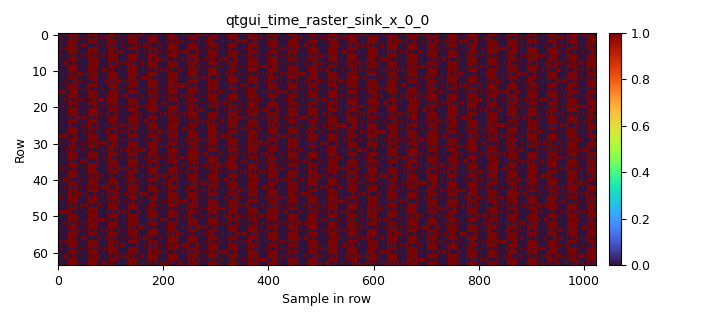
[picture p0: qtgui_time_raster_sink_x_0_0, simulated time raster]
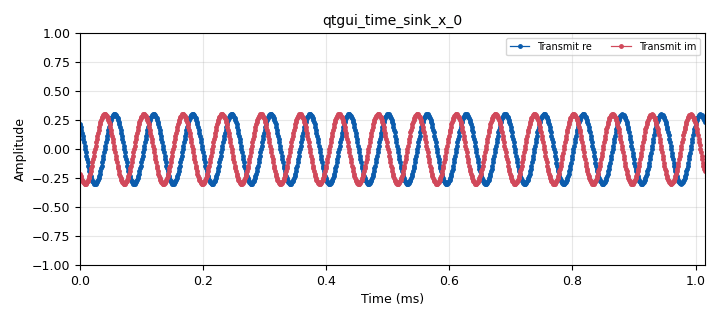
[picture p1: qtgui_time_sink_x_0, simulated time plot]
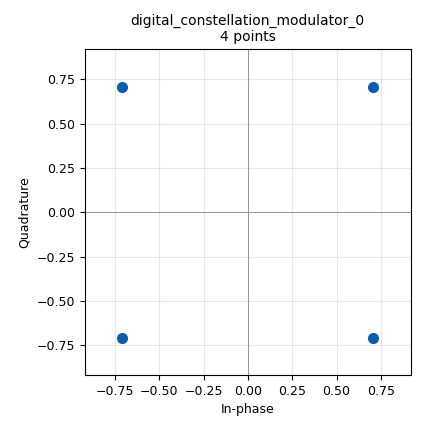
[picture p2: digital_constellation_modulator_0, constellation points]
options:
  parameters:
    generate_options: qt_gui
    id: qpsk_tx_console
    output_language: python
    title: qpsk_tx_console
  states: {}

blocks:
- name: alpha
  id: variable
  parameters:
    comment: |-
      Can't change alpha in real time
      for Consteallation Modulator
    value: '0.50'
  states: {}
- name: center_freq
  id: variable
  parameters:
    value: 915e6
  states: {}
- name: constellation
  id: variable_constellation
  parameters:
    const_points: '[-1-1j, -1+1j, 1+1j, 1-1j]'
    dims: '1'
    normalization: digital.constellation.AMPLITUDE_NORMALIZATION
    precision: '8'
    rot_sym: '4'
    sym_map: '[0, 1, 2, 3]'
    type: calcdist
  states: {}
- name: samp_rate
  id: variable
  parameters:
    value: '1008000'
  states: {}
- name: sps
  id: variable
  parameters:
    value: '16'
  states: {}
- name: tx_attenuation
  id: variable_qtgui_range
  parameters:
    label: ip:192.168.2.1
    start: '0'
    step: '1'
    stop: '89'
    value: '0'
  states: {}
- name: blocks_message_strobe_0_0
  id: blocks_message_strobe
  parameters:
    msg: pmt.cons(pmt.PMT_NIL,pmt.init_u8vector(9,(71,78,85,32,82,97,100,105,111)))
    period: '1'
  states: {}
- name: blocks_multiply_const_vxx_0
  id: blocks_multiply_const_vxx
  parameters:
    const: '0.3'
    type: complex
  states: {}
- name: blocks_packed_to_unpacked_xx_0
  id: blocks_packed_to_unpacked_xx
  parameters:
    bits_per_chunk: '1'
    endianness: gr.GR_MSB_FIRST
    type: byte
  states: {}
- name: digital_constellation_modulator_0
  id: digital_constellation_modulator
  parameters:
    constellation: constellation
    differential: 'True'
    excess_bw: alpha
    samples_per_symbol: sps
  states: {}
- name: digital_crc32_async_bb_0
  id: digital_crc32_async_bb
  parameters:
    check: 'False'
  states: {}
- name: epy_block_0
  id: epy_block
  parameters:
    _source_code: "\"\"\"\nEmbedded Python Block\n\"\"\"\n\nimport numpy as np\nfrom gnuradio import gr\nimport pmt\n\nclass blk(gr.sync_block):\n    \"\"\"Packet Format\"\"\"\n\n    def __init__(self):\n        gr.sync_block.__init__(self,\n            name = \"Packet Format\",\n            in_sig = None,\n            out_sig = None)\n        self.message_port_register_in(pmt.intern('PDU_in'))                \t\t\t\t\n        self.message_port_register_in(pmt.intern('msg_count'))\n        self.message_port_register_out(pmt.intern('PDU_out'))\n        self.message_port_register_out(pmt.intern('msg_count'))\n        self.set_msg_handler(pmt.intern('PDU_in'), self.handle_msg)\n        self.set_msg_handler(pmt.intern('msg_count'), self.handle_msg_count)\n        self.message_counter=0\n        \n    def get_messageCounter(self):\n        return self.message_counter\n\n    def handle_msg_count(self, msg):\n        self.message_counter=pmt.to_python(msg)[1]\n\n    def handle_msg(self, msg):\n        inMsg = pmt.to_python (msg)\n        pld = inMsg[1]\n        # print (pld)\n        mLen = len(pld)\n        # print (mLen)\n        if (mLen > 0) and (self.message_counter <= 10):\n            char_list = [85,85,85,85,85,85,85,85,85,85,85,85,85,85,85,85,85,85,85,85,85,85,85,85,85,85,85,85,85,85,85,85,225,90,232,147]\n            char_list.append (mLen >> 8)\n            char_list.append (mLen & 255)\n            char_list.append (mLen >> 8)\n            char_list.append (mLen & 255)\n            char_list.extend (pld)\n            # print (char_list)\n            out_len = len(char_list)\n            # print (out_len)\n            self.message_port_pub(pmt.intern('PDU_out'), pmt.cons(pmt.PMT_NIL,pmt.init_u8vector(out_len,(char_list))))\n            self.message_counter+=1\n            self.message_port_pub(pmt.intern('msg_count'), pmt.cons(pmt.PMT_NIL,pmt.from_long(self.message_counter)))\n\n    def work(self, input_items, output_items):\n        #self.message_counter-=1\n        #self.message_port_pub(pmt.intern('msg_count'), pmt.cons(pmt.PMT_NIL,pmt.from_long(self.message_counter)))\n        #output_items[0][:] = input_items[0]\n        return 1#len(output_items[0])\n            \n            \n"
  states: {}
- name: epy_block_2
  id: epy_block
  parameters:
    _source_code: |
      """
      Embedded Python Blocks:

      Each time this file is saved, GRC will instantiate the first class it finds
      to get ports and parameters of your block. The arguments to __init__  will
      be the parameters. All of them are required to have default values!
      """

      import numpy as np
      from gnuradio import gr
      import pmt

      class blk(gr.sync_block):  # other base classes are basic_block, decim_block, interp_block
          """Embedded Python Block example - a simple multiply const"""

          def __init__(self):  # only default arguments here
              """arguments to this function show up as parameters in GRC"""
              gr.sync_block.__init__(
                  self,
                  name='Message Counter Decrease',   # will show up in GRC
                  in_sig=[np.complex64],
                  out_sig=[np.complex64]
              )
              # if an attribute with the same name as a parameter is found,
              # a callback is registered (properties work, too).
              self.message_port_register_in(pmt.intern('msg_count_in'))
              self.message_port_register_out(pmt.intern('msg_count'))
              self.set_msg_handler(pmt.intern('msg_count_in'), self.handle_msg)
              self.message_counter=0
              

          def handle_msg(self, msg):
              self.message_counter = pmt.to_python(msg)[1]


          def work(self, input_items, output_items):
              tags = self.get_tags_in_window(0, 0, len(input_items[0]),pmt.intern('packet_len'))
              #print(len(tags))
              if(len(tags)):            
                  if(self.message_counter > len(tags)):
                      self.message_counter-=len(tags)
                  else:
                      self.message_counter=0
                  self.message_port_pub(pmt.intern('msg_count'), pmt.cons(pmt.PMT_NIL,pmt.from_long(self.message_counter)))
                  #print(self.message_counter)
              output_items[0][:] = input_items[0]
              return len(output_items[0])
  states: {}
- name: iio_pluto_sink_0_0
  id: iio_pluto_sink
  parameters:
    attenuation1: tx_attenuation
    bandwidth: int(samp_rate)
    buffer_size: '32768'
    cyclic: 'False'
    filter_source: '''Auto'''
    frequency: int(center_freq)
    samplerate: int(samp_rate)
    type: fc32
    uri: 192.168.2.1
  states: {}
- name: import_0
  id: import
  parameters:
    imports: import math
  states: {}
- name: pdu_pdu_to_tagged_stream_0
  id: pdu_pdu_to_tagged_stream
  parameters:
    tag: packet_len
    type: byte
  states: {}
- name: qtgui_time_raster_sink_x_0_0
  id: qtgui_time_raster_sink_x
  parameters:
    ncols: '1024'
    nrows: '64'
    samp_rate: samp_rate
    type: byte
    zmin: '0'
  states: {}
- name: qtgui_time_sink_x_0
  id: qtgui_time_sink_x
  parameters:
    label1: Transmit re
    label2: Transmit im
    marker1: '0'
    marker2: '0'
    size: '1024'
    srate: samp_rate
    type: complex
  states: {}

connections:
- [blocks_message_strobe_0_0, strobe, digital_crc32_async_bb_0, in]
- [blocks_multiply_const_vxx_0, '0', epy_block_2, '0']
- [blocks_multiply_const_vxx_0, '0', qtgui_time_sink_x_0, '0']
- [blocks_packed_to_unpacked_xx_0, '0', qtgui_time_raster_sink_x_0_0, '0']
- [digital_constellation_modulator_0, '0', blocks_multiply_const_vxx_0, '0']
- [digital_crc32_async_bb_0, out, epy_block_0, PDU_in]
- [epy_block_0, PDU_out, pdu_pdu_to_tagged_stream_0, pdus]
- [epy_block_0, msg_count, epy_block_2, msg_count_in]
- [epy_block_2, '0', iio_pluto_sink_0_0, '0']
- [epy_block_2, msg_count, epy_block_0, msg_count]
- [pdu_pdu_to_tagged_stream_0, '0', blocks_packed_to_unpacked_xx_0, '0']
- [pdu_pdu_to_tagged_stream_0, '0', digital_constellation_modulator_0, '0']

metadata:
  file_format: 1
